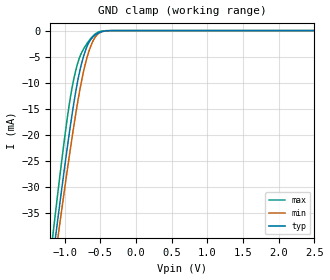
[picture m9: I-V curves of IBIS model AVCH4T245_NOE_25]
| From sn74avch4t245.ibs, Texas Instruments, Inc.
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[Model]   AVCH4T245_NOE_25
Model_type  Input
Vinl=0.7
Vinh=1.6
| variable   typ   min   max
C_comp   2.79pF   2.20pF   3.41pF
[Temperature Range]   40   100   -40
| Ambient temperature   25   85   -40
[Voltage range]   2.5   2.3   2.7
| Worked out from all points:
|   GND clamp passes 1 mA (typ) near -0.58 V on its own axis
[GND Clamp]
| AVCH4T245_NOE_25
|   Voltage   I(typ)   I(min)   I(max)
-4.6V     -459.2mA   -437.9mA   -484.2mA
-1.17V    -44.32mA   -47.52mA   -39.94mA
-1.115V   -38.35mA   -41.89mA   -33.51mA
-1.09V    -35.67mA   -39.36mA   -30.63mA
-1.07V    -33.55mA   -37.35mA   -28.36mA
-945mV    -20.79mA   -25.16mA   -15.18mA
-840mV    -11.44mA   -15.71mA   -7.485mA
-760mV    -6.238mA   -9.522mA   -4.207mA
-685mV    -3.04mA    -5.152mA   -2.477mA
-600mV    -1.199mA   -1.953mA   -1.025mA
-520mV    -424.9uA   -517.7uA   -253uA
2.5V      158.9pA    889.7pA    36.82pA
